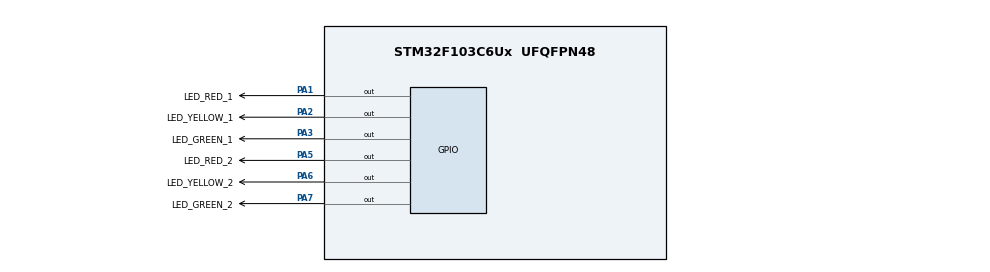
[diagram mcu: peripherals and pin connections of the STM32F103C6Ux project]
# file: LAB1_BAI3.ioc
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Mcu.Family=STM32F1
Mcu.Name=STM32F103C6Ux
Mcu.Package=UFQFPN48
NVIC.PriorityGroup=NVIC_PRIORITYGROUP_4
PA1.GPIO_Label=LED_RED_1
PA1.Signal=GPIO_Output
PA2.GPIO_Label=LED_YELLOW_1
PA2.Signal=GPIO_Output
PA3.GPIO_Label=LED_GREEN_1
PA3.Signal=GPIO_Output
PA5.GPIO_Label=LED_RED_2
PA5.Signal=GPIO_Output
PA6.GPIO_Label=LED_YELLOW_2
PA6.Signal=GPIO_Output
PA7.GPIO_Label=LED_GREEN_2
PA7.Signal=GPIO_Output
ProjectManager.HeapSize=0x200
ProjectManager.StackSize=0x400
ProjectManager.TargetToolchain=STM32CubeIDE
RCC.APB1Freq_Value=8000000
RCC.APB2Freq_Value=8000000
VP_SYS_VS_ND.Mode=No_Debug
board=custom

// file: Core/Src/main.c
/* USER CODE BEGIN Header */
/**
  ******************************************************************************
  * @file           : main.c
  * @brief          : Main program body
  ******************************************************************************
  * @attention
  *
  * <h2><center>&copy; Copyright (c) 2023 STMicroelectronics.
  * All rights reserved.</center></h2>
  *
  * This software component is licensed by ST under BSD 3-Clause license,
  * the "License"; You may not use this file except in compliance with the
  * License. You may obtain a copy of the License at:
  *                        opensource.org/licenses/BSD-3-Clause
  *
  ******************************************************************************
  */
/* USER CODE END Header */
#include "main.h"

void SystemClock_Config(void);
static void MX_GPIO_Init(void);

int main(void)
{

  /* MCU Configuration--------------------------------------------------------*/

  /* Reset of all peripherals, Initializes the Flash interface and the Systick. */
  HAL_Init();

  /* Configure the system clock */
  SystemClock_Config();

  /* Initialize all configured peripherals */
  MX_GPIO_Init();

  /* Infinite loop */
  /* USER CODE BEGIN WHILE */
  /* Khoi tao cac bien dem "counterL" va "counterP" co gia tri khoi tao ban dau lan luot la 5 va 3 tuong ung cho truong hop ban dau la luong L (Landscape) den RED va luong P (Portrait) den GREEN */
  /* Khoi tao bien "change" co gia tri ban dau la 0. Bien nay duoc dung de thong bao thay doi tu den GREEN sang den YELLOW */
  /* Khoi tao bien "sw" co gia tri ban dau la "P" (Portrait) de chi trang thai luong dang chay cua 4-way traffic light */
  int counterL = 5, counterP = 3, change = 0;
  char sw = 'P';
  while (1)
  {
    /* USER CODE END WHILE */

    /* USER CODE BEGIN 3 */
	  counterL--; counterP--;
	  /* Truong hop "sw" = 'P' (Luong P duoc chay, luong L dung den RED) */
	  if (sw == 'P') {
		  HAL_GPIO_WritePin(LED_RED_1_GPIO_Port , LED_RED_1_Pin , GPIO_PIN_RESET); /* Thiet lap den RED cho luong L */
		  HAL_GPIO_WritePin(LED_YELLOW_1_GPIO_Port , LED_YELLOW_1_Pin , GPIO_PIN_SET);
		  HAL_GPIO_WritePin(LED_GREEN_1_GPIO_Port , LED_GREEN_1_Pin , GPIO_PIN_SET);
		  /* Trong khoang thoi gian 6 giay luong L dang den RED, thi o luong P ta se thiet lap 4 giay dau den GREEN va 2 giay sau den YELLOW */
		  if (counterL >= 0) {
			  if (counterP >= 0) {
				  /* "change" = 0 thi den GREEN, "change" = 1 thi den YELLOW */
				  if (change == 0) {
					  HAL_GPIO_WritePin(LED_RED_2_GPIO_Port , LED_RED_2_Pin , GPIO_PIN_SET); /* Thiet lap den GREEN cho luong P */
				  	  HAL_GPIO_WritePin(LED_YELLOW_2_GPIO_Port , LED_YELLOW_2_Pin , GPIO_PIN_SET);
				  	  HAL_GPIO_WritePin(LED_GREEN_2_GPIO_Port , LED_GREEN_2_Pin , GPIO_PIN_RESET);
				  }
				  else {
					  HAL_GPIO_WritePin(LED_RED_2_GPIO_Port , LED_RED_2_Pin , GPIO_PIN_SET); /* Thiet lap den YELLOW cho luong P */
					  HAL_GPIO_WritePin(LED_YELLOW_2_GPIO_Port , LED_YELLOW_2_Pin , GPIO_PIN_RESET);
					  HAL_GPIO_WritePin(LED_GREEN_2_GPIO_Port , LED_GREEN_2_Pin , GPIO_PIN_SET);
				  }
			  	}
			  else { /* Chuyen doi trang thai GREEN sang YELLOW o luong P */
				  change = 1;
				  counterP = 1;
			  }
		  }
		  else { /* Thiet lap lai cac thong so de chuyen luong giao thong sang luong L duoc chay, luong P dung lai (sw = L) */
			  sw = 'L';
			  counterL = 3;
			  counterP = 5;
			  change = 0;
		  }
	  }

	  /* Truong hop "sw" = 'L' (Luong L duoc chay, luong P dung den RED) */
	  else {
		  HAL_GPIO_WritePin(LED_RED_2_GPIO_Port , LED_RED_2_Pin , GPIO_PIN_RESET); /* Thiet lap den RED cho luong P */
		  HAL_GPIO_WritePin(LED_YELLOW_2_GPIO_Port , LED_YELLOW_2_Pin , GPIO_PIN_SET);
		  HAL_GPIO_WritePin(LED_GREEN_2_GPIO_Port , LED_GREEN_2_Pin , GPIO_PIN_SET);
		  /* Trong khoang thoi gian 6 giay luong P dang den RED, thi o luong L ta se thiet lap 4 giay dau den GREEN va 2 giay sau den YELLOW */
		  if (counterP >= 0) {
			  if (counterL >= 0) {
				  /* "change" = 0 thi den GREEN, "change" = 1 thi den YELLOW */
				  if (change == 0) {
					  HAL_GPIO_WritePin(LED_RED_1_GPIO_Port , LED_RED_1_Pin , GPIO_PIN_SET); /* Thiet lap den GREEN cho luong L */
				  	  HAL_GPIO_WritePin(LED_YELLOW_1_GPIO_Port , LED_YELLOW_1_Pin , GPIO_PIN_SET);
				  	  HAL_GPIO_WritePin(LED_GREEN_1_GPIO_Port , LED_GREEN_1_Pin , GPIO_PIN_RESET);
				  }
				  else {
					  HAL_GPIO_WritePin(LED_RED_1_GPIO_Port , LED_RED_1_Pin , GPIO_PIN_SET); /* Thiet lap den YELLOW cho luong L */
					  HAL_GPIO_WritePin(LED_YELLOW_1_GPIO_Port , LED_YELLOW_1_Pin , GPIO_PIN_RESET);
					  HAL_GPIO_WritePin(LED_GREEN_1_GPIO_Port , LED_GREEN_1_Pin , GPIO_PIN_SET);
				  }
			  	}
			  else { /* Chuyen doi trang thai GREEN sang YELLOW o luong L */
				  change = 1;
				  counterL = 1;
			  }
		  }
		  else { /* Thiet lap lai cac thong so de chuyen luong giao thong sang luong P duoc chay, luong L dung lai (sw = P) */
			  sw = 'P';
			  counterP = 3;
			  counterL = 5;
			  change = 0;
		  }
	  }
	  HAL_Delay(1000);
  }
  /* USER CODE END 3 */
}

void SystemClock_Config(void)
{
  RCC_OscInitTypeDef RCC_OscInitStruct = {0};
  RCC_ClkInitTypeDef RCC_ClkInitStruct = {0};

  /** Initializes the RCC Oscillators according to the specified parameters
  * in the RCC_OscInitTypeDef structure.
  */
  RCC_OscInitStruct.OscillatorType = RCC_OSCILLATORTYPE_HSI;
  RCC_OscInitStruct.HSIState = RCC_HSI_ON;
  RCC_OscInitStruct.HSICalibrationValue = RCC_HSICALIBRATION_DEFAULT;
  RCC_OscInitStruct.PLL.PLLState = RCC_PLL_NONE;
  if (HAL_RCC_OscConfig(&RCC_OscInitStruct) != HAL_OK)
  {
    Error_Handler();
  }
  /** Initializes the CPU, AHB and APB buses clocks
  */
  RCC_ClkInitStruct.ClockType = RCC_CLOCKTYPE_HCLK|RCC_CLOCKTYPE_SYSCLK
                              |RCC_CLOCKTYPE_PCLK1|RCC_CLOCKTYPE_PCLK2;
  RCC_ClkInitStruct.SYSCLKSource = RCC_SYSCLKSOURCE_HSI;
  RCC_ClkInitStruct.AHBCLKDivider = RCC_SYSCLK_DIV1;
  RCC_ClkInitStruct.APB1CLKDivider = RCC_HCLK_DIV1;
  RCC_ClkInitStruct.APB2CLKDivider = RCC_HCLK_DIV1;

  if (HAL_RCC_ClockConfig(&RCC_ClkInitStruct, FLASH_LATENCY_0) != HAL_OK)
  {
    Error_Handler();
  }
}

static void MX_GPIO_Init(void)
{
  GPIO_InitTypeDef GPIO_InitStruct = {0};

  /* GPIO Ports Clock Enable */
  __HAL_RCC_GPIOA_CLK_ENABLE();

  /*Configure GPIO pin Output Level */
  HAL_GPIO_WritePin(GPIOA, LED_RED_1_Pin|LED_YELLOW_1_Pin|LED_GREEN_1_Pin|LED_RED_2_Pin
                          |LED_YELLOW_2_Pin|LED_GREEN_2_Pin, GPIO_PIN_RESET);

  /*Configure GPIO pins : LED_RED_1_Pin LED_YELLOW_1_Pin LED_GREEN_1_Pin LED_RED_2_Pin
                           LED_YELLOW_2_Pin LED_GREEN_2_Pin */
  GPIO_InitStruct.Pin = LED_RED_1_Pin|LED_YELLOW_1_Pin|LED_GREEN_1_Pin|LED_RED_2_Pin
                          |LED_YELLOW_2_Pin|LED_GREEN_2_Pin;
  GPIO_InitStruct.Mode = GPIO_MODE_OUTPUT_PP;
  GPIO_InitStruct.Pull = GPIO_NOPULL;
  GPIO_InitStruct.Speed = GPIO_SPEED_FREQ_LOW;
  HAL_GPIO_Init(GPIOA, &GPIO_InitStruct);

}

void Error_Handler(void)
{
  __disable_irq();
  while (1)
  {
  }
}

/************************ (C) COPYRIGHT STMicroelectronics *****END OF FILE****/
